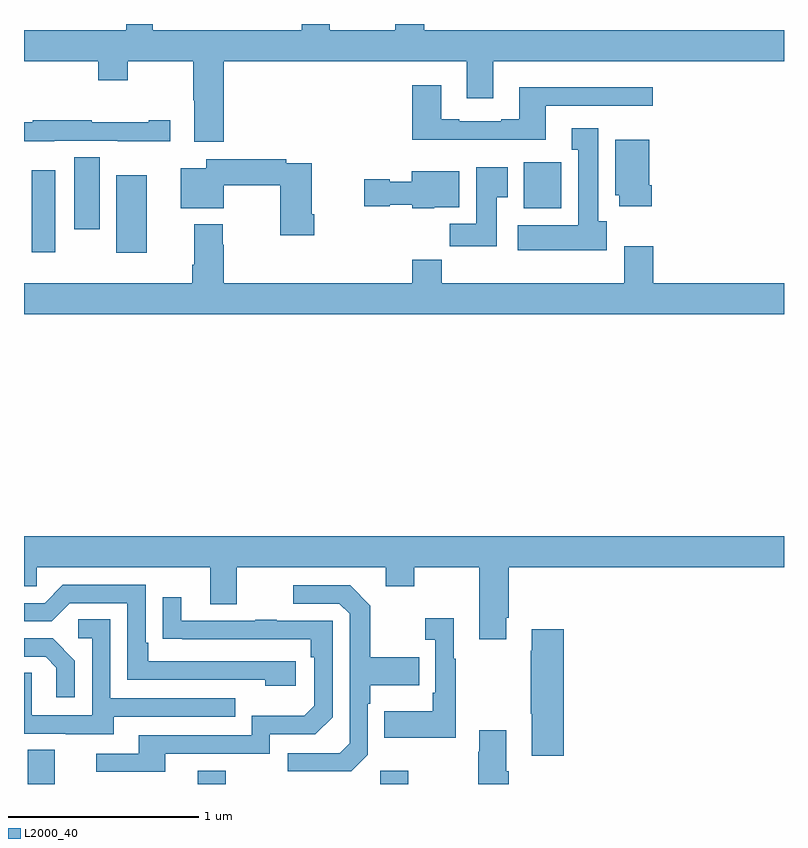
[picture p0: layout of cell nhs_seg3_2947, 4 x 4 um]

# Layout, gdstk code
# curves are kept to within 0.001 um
import gdstk
lib = gdstk.Library(unit=1e-6, precision=1e-09)
def R(c, l, rs):  # rectangles x0, y0, x1, y1
    for r in rs: c.add(gdstk.rectangle(r[:2], r[2:], *l))
def P(c, l, *ps):  # polygons
    for p in ps: c.add(gdstk.Polygon(p, *l))
L2000_40 = (2000, 40)

nhs_seg3_2947 = lib.new_cell('nhs_seg3_2947')
R(nhs_seg3_2947, L2000_40, [(263.021,742.4,263.161,742.58), (263.915,742.4,264.063,742.471), (264.876,742.4,265.023,742.471), (263.486,745.197,263.647,745.603), (263.042,745.2,263.164,745.63), (263.264,745.32,263.398,745.7), (265.631,745.43,265.828,745.672)])
P(nhs_seg3_2947, L2000_40, [(265.331,746.01),(265.471,746.01),(265.471,746.204),(267,746.204),(267,746.368),(265.106,746.368),(265.106,746.4),(264.953,746.4),(264.953,746.368),(264.609,746.368),(264.609,746.4),(264.461,746.4),(264.461,746.368),(263.677,746.368),(263.677,746.4),(263.537,746.4),(263.537,746.368),(263,746.368),(263,746.204),(263.392,746.204),(263.392,746.105),(263.547,746.105),(263.547,746.204),(263.89,746.204),(263.89,746),(263.897,746),(263.897,745.779),(264.05,745.779),(264.05,746.204),(265.331,746.204)],
  [(265.747,745.971),(266.308,745.971),(266.308,746.068),(265.607,746.068),(265.607,745.9),(265.511,745.9),(265.511,745.887),(265.291,745.887),(265.291,745.9),(265.195,745.9),(265.195,746.077),(265.043,746.077),(265.043,745.79),(265.747,745.79)],
  [(263.16,745.785),(263.494,745.785),(263.494,745.784),(263.77,745.784),(263.77,745.894),(263.657,745.894),(263.657,745.884),(263.357,745.884),(263.357,745.894),(263.047,745.894),(263.047,745.884),(263,745.884),(263,745.784),(263.16,745.784)],
  [(266.068,745.362),(266.023,745.362),(266.023,745.852),(265.883,745.852),(265.883,745.739),(265.916,745.739),(265.916,745.342),(265.599,745.342),(265.599,745.208),(266.068,745.208)],
  [(266.303,745.552),(266.29,745.552),(266.29,745.792),(266.111,745.792),(266.111,745.5),(266.132,745.5),(266.132,745.44),(266.303,745.44)],
  [(264.527,745.399),(264.514,745.399),(264.514,745.668),(264.38,745.668),(264.38,745.688),(263.958,745.688),(263.958,745.642),(263.825,745.642),(263.825,745.43),(264.052,745.43),(264.052,745.552),(264.349,745.552),(264.349,745.287),(264.527,745.287)],
  [(265.489,745.489),(265.546,745.489),(265.546,745.645),(265.379,745.645),(265.379,745.348),(265.24,745.348),(265.24,745.23),(265.489,745.23)],
  [(265.158,745.436),(265.291,745.436),(265.291,745.624),(265.04,745.624),(265.04,745.57),(264.924,745.57),(264.924,745.583),(264.792,745.583),(264.792,745.441),(264.924,745.441),(264.924,745.448),(265.044,745.448),(265.044,745.43),(265.158,745.43)],
  [(267,745.036),(266.312,745.036),(266.312,745.231),(266.159,745.231),(266.159,745.036),(265.199,745.036),(265.199,745.16),(265.043,745.16),(265.043,745.036),(264.05,745.036),(264.05,745.238),(264.045,745.238),(264.045,745.345),(263.897,745.345),(263.897,745.132),(263.885,745.132),(263.885,745.036),(263,745.036),(263,744.872),(267,744.872)],
  [(265.537,743.275),(265.55,743.275),(265.55,743.54),(267,743.54),(267,743.704),(263,743.704),(263,743.442),(263.067,743.442),(263.067,743.54),(263.981,743.54),(263.981,743.346),(264.121,743.346),(264.121,743.54),(264.905,743.54),(264.905,743.441),(265.053,743.441),(265.053,743.54),(265.397,743.54),(265.397,743.163),(265.537,743.163)],
  [(264.43,743.046),(263.653,743.046),(263.653,743.143),(263.64,743.143),(263.64,743.448),(263.205,743.448),(263.109,743.352),(263,743.352),(263,743.256),(263.145,743.256),(263.241,743.352),(263.544,743.352),(263.544,742.95),(264.269,742.95),(264.269,742.916),(264.43,742.916)],
  [(264.81,742.554),(264.81,742.823),(264.823,742.823),(264.823,742.919),(265.079,742.919),(265.079,743.067),(264.823,743.067),(264.823,743.339),(264.717,743.445),(264.417,743.445),(264.417,743.349),(264.66,743.349),(264.714,743.295),(264.714,742.614),(264.663,742.563),(264.387,742.563),(264.387,742.467),(264.723,742.467)],
  [(263.743,742.56),(264.294,742.56),(264.294,742.662),(264.534,742.662),(264.624,742.752),(264.624,743.259),(264.329,743.259),(264.329,743.264),(264.217,743.264),(264.217,743.259),(263.827,743.259),(263.827,743.383),(263.731,743.383),(263.731,743.164),(264.508,743.163),(264.508,743.066),(264.528,743.066),(264.528,742.812),(264.475,742.759),(264.198,742.759),(264.198,742.656),(263.603,742.656),(263.603,742.56),(263.379,742.56),(263.379,742.464),(263.743,742.464)],
  [(265.273,743.059),(265.261,743.059),(265.261,743.272),(265.113,743.272),(265.113,743.159),(265.164,743.159),(265.164,742.879),(265.152,742.879),(265.152,742.783),(264.895,742.783),(264.895,742.643),(265.273,742.643)],
  [(263.473,742.755),(264.113,742.755),(264.113,742.851),(263.454,742.851),(263.454,743.267),(263.286,743.267),(263.286,743.166),(263.358,743.166),(263.358,742.761),(263.04,742.761),(263.04,742.985),(263,742.985),(263,742.665),(263.219,742.665),(263.219,742.661),(263.473,742.661)],
  [(265.841,743.215),(265.673,743.215),(265.673,743.102),(265.666,743.102),(265.666,742.771),(265.673,742.771),(265.673,742.548),(265.841,742.548)],
  [(263.268,743.05),(263.152,743.166),(263,743.166),(263,743.07),(263.114,743.07),(263.171,743.013),(263.171,742.857),(263.268,742.857)],
  [(265.55,742.468),(265.537,742.468),(265.537,742.684),(265.397,742.684),(265.397,742.571),(265.39,742.571),(265.39,742.4),(265.55,742.4)])

lib.write_gds('nhs_seg3_2947.gds')
